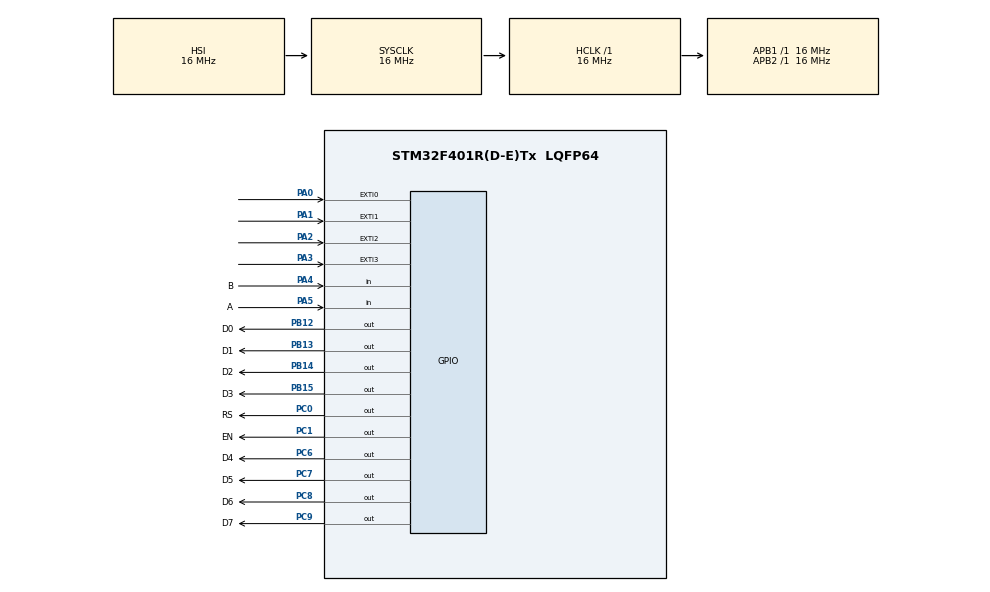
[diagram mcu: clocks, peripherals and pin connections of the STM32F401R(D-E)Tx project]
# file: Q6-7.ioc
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Mcu.Family=STM32F4
Mcu.Name=STM32F401R(D-E)Tx
Mcu.Package=LQFP64
NVIC.EXTI0_IRQn=true\:1\:0\:true\:false\:true\:true\:true
NVIC.EXTI1_IRQn=true\:1\:0\:true\:false\:true\:true\:true
NVIC.EXTI2_IRQn=true\:1\:0\:true\:false\:true\:true\:true
NVIC.EXTI3_IRQn=true\:1\:0\:true\:false\:true\:true\:true
NVIC.PriorityGroup=NVIC_PRIORITYGROUP_4
PA0-WKUP.GPIO_ModeDefaultEXTI=GPIO_MODE_IT_RISING
PA0-WKUP.Signal=GPXTI0
PA1.GPIO_ModeDefaultEXTI=GPIO_MODE_IT_FALLING
PA1.Signal=GPXTI1
PA2.GPIO_ModeDefaultEXTI=GPIO_MODE_IT_RISING
PA2.Signal=GPXTI2
PA3.GPIO_ModeDefaultEXTI=GPIO_MODE_IT_FALLING
PA3.Signal=GPXTI3
PA4.GPIO_Label=B
PA4.Signal=GPIO_Input
PA5.GPIO_Label=A
PA5.Signal=GPIO_Input
PB12.GPIO_Label=D0
PB12.Signal=GPIO_Output
PB13.GPIO_Label=D1
PB13.Signal=GPIO_Output
PB14.GPIO_Label=D2
PB14.Signal=GPIO_Output
PB15.GPIO_Label=D3
PB15.Signal=GPIO_Output
PC0.GPIO_Label=RS
PC0.Signal=GPIO_Output
PC1.GPIO_Label=EN
PC1.Signal=GPIO_Output
PC6.GPIO_Label=D4
PC6.Signal=GPIO_Output
PC7.GPIO_Label=D5
PC7.Signal=GPIO_Output
PC8.GPIO_Label=D6
PC8.Signal=GPIO_Output
PC9.GPIO_Label=D7
PC9.Signal=GPIO_Output
ProjectManager.HeapSize=0x200
ProjectManager.StackSize=0x400
ProjectManager.TargetToolchain=STM32CubeIDE
RCC.AHBFreq_Value=16000000
RCC.APB1Freq_Value=16000000
RCC.APB2Freq_Value=16000000
RCC.CortexFreq_Value=16000000
RCC.HSE_VALUE=25000000
RCC.HSI_VALUE=16000000
RCC.LSE_VALUE=32768
RCC.SYSCLKFreq_VALUE=16000000
RCC.VCOOutputFreq_Value=192000000
board=custom

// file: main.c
/* USER CODE BEGIN Header */
/**
  ******************************************************************************
  * @file           : main.c
  * @brief          : Main program body
  ******************************************************************************
  * @attention
  *
  * <h2><center>&copy; Copyright (c) 2020 STMicroelectronics.
  * All rights reserved.</center></h2>
  *
  * This software component is licensed by ST under BSD 3-Clause license,
  * the "License"; You may not use this file except in compliance with the
  * License. You may obtain a copy of the License at:
  *                        opensource.org/licenses/BSD-3-Clause
  *
  ******************************************************************************
  */
/* USER CODE END Header */

#include "main.h"

/* USER CODE BEGIN Includes */
#include "STM_MY_LCD16X2.h"
#include "stdio.h"

/* USER CODE END Includes */

/* USER CODE BEGIN PV */
int n = 0;
float position;

/* USER CODE END PV */

void SystemClock_Config(void);
static void MX_GPIO_Init(void);

int main(void)
{

  /* MCU Configuration--------------------------------------------------------*/

  /* Reset of all peripherals, Initializes the Flash interface and the Systick. */
  HAL_Init();

  /* Configure the system clock */
  SystemClock_Config();

  /* Initialize all configured peripherals */
  MX_GPIO_Init();
  /* USER CODE BEGIN 2 */
  LCD1602_Begin8BIT(GPIOC,GPIO_PIN_0,GPIO_PIN_1,GPIOB,GPIO_PIN_12,GPIO_PIN_13,GPIO_PIN_14,GPIO_PIN_15,GPIOC,GPIO_PIN_6,GPIO_PIN_7,GPIO_PIN_8,GPIO_PIN_9);

  /* USER CODE END 2 */

  /* Infinite loop */
  /* USER CODE BEGIN WHILE */
  while (1)
  {
	  position = (float) n*0.3383458647; //position = n*((360/266)/4)
	  if (n >= 1064 || n <= -1064)
	  {
		  n = 0;
	  }
	  LCD1602_clear();
	  LCD1602_1stLine();
	  LCD1602_print("Pos: ");
	  LCD1602_PrintFloat(position, 2);

	  HAL_Delay(50);
    /* USER CODE END WHILE */

  }
}

void SystemClock_Config(void)
{
  RCC_OscInitTypeDef RCC_OscInitStruct = {0};
  RCC_ClkInitTypeDef RCC_ClkInitStruct = {0};

  /** Configure the main internal regulator output voltage
  */
  __HAL_RCC_PWR_CLK_ENABLE();
  __HAL_PWR_VOLTAGESCALING_CONFIG(PWR_REGULATOR_VOLTAGE_SCALE2);
  /** Initializes the CPU, AHB and APB busses clocks
  */
  RCC_OscInitStruct.OscillatorType = RCC_OSCILLATORTYPE_HSI;
  RCC_OscInitStruct.HSIState = RCC_HSI_ON;
  RCC_OscInitStruct.HSICalibrationValue = RCC_HSICALIBRATION_DEFAULT;
  RCC_OscInitStruct.PLL.PLLState = RCC_PLL_NONE;
  if (HAL_RCC_OscConfig(&RCC_OscInitStruct) != HAL_OK)
  {
    Error_Handler();
  }
  /** Initializes the CPU, AHB and APB busses clocks
  */
  RCC_ClkInitStruct.ClockType = RCC_CLOCKTYPE_HCLK|RCC_CLOCKTYPE_SYSCLK
                              |RCC_CLOCKTYPE_PCLK1|RCC_CLOCKTYPE_PCLK2;
  RCC_ClkInitStruct.SYSCLKSource = RCC_SYSCLKSOURCE_HSI;
  RCC_ClkInitStruct.AHBCLKDivider = RCC_SYSCLK_DIV1;
  RCC_ClkInitStruct.APB1CLKDivider = RCC_HCLK_DIV1;
  RCC_ClkInitStruct.APB2CLKDivider = RCC_HCLK_DIV1;

  if (HAL_RCC_ClockConfig(&RCC_ClkInitStruct, FLASH_LATENCY_0) != HAL_OK)
  {
    Error_Handler();
  }
}

static void MX_GPIO_Init(void)
{
  GPIO_InitTypeDef GPIO_InitStruct = {0};

  /* GPIO Ports Clock Enable */
  __HAL_RCC_GPIOC_CLK_ENABLE();
  __HAL_RCC_GPIOA_CLK_ENABLE();
  __HAL_RCC_GPIOB_CLK_ENABLE();

  /*Configure GPIO pin Output Level */
  HAL_GPIO_WritePin(GPIOC, RS_Pin|EN_Pin|D4_Pin|D5_Pin
                          |D6_Pin|D7_Pin, GPIO_PIN_RESET);

  /*Configure GPIO pin Output Level */
  HAL_GPIO_WritePin(GPIOB, D0_Pin|D1_Pin|D2_Pin|D3_Pin, GPIO_PIN_RESET);

  /*Configure GPIO pins : RS_Pin EN_Pin D4_Pin D5_Pin
                           D6_Pin D7_Pin */
  GPIO_InitStruct.Pin = RS_Pin|EN_Pin|D4_Pin|D5_Pin
                          |D6_Pin|D7_Pin;
  GPIO_InitStruct.Mode = GPIO_MODE_OUTPUT_PP;
  GPIO_InitStruct.Pull = GPIO_NOPULL;
  GPIO_InitStruct.Speed = GPIO_SPEED_FREQ_LOW;
  HAL_GPIO_Init(GPIOC, &GPIO_InitStruct);

  /*Configure GPIO pins : PA0 PA2 */
  GPIO_InitStruct.Pin = GPIO_PIN_0|GPIO_PIN_2;
  GPIO_InitStruct.Mode = GPIO_MODE_IT_RISING;
  GPIO_InitStruct.Pull = GPIO_NOPULL;
  HAL_GPIO_Init(GPIOA, &GPIO_InitStruct);

  /*Configure GPIO pins : PA1 PA3 */
  GPIO_InitStruct.Pin = GPIO_PIN_1|GPIO_PIN_3;
  GPIO_InitStruct.Mode = GPIO_MODE_IT_FALLING;
  GPIO_InitStruct.Pull = GPIO_NOPULL;
  HAL_GPIO_Init(GPIOA, &GPIO_InitStruct);

  /*Configure GPIO pins : B_Pin A_Pin */
  GPIO_InitStruct.Pin = B_Pin|A_Pin;
  GPIO_InitStruct.Mode = GPIO_MODE_INPUT;
  GPIO_InitStruct.Pull = GPIO_NOPULL;
  HAL_GPIO_Init(GPIOA, &GPIO_InitStruct);

  /*Configure GPIO pins : D0_Pin D1_Pin D2_Pin D3_Pin */
  GPIO_InitStruct.Pin = D0_Pin|D1_Pin|D2_Pin|D3_Pin;
  GPIO_InitStruct.Mode = GPIO_MODE_OUTPUT_PP;
  GPIO_InitStruct.Pull = GPIO_NOPULL;
  GPIO_InitStruct.Speed = GPIO_SPEED_FREQ_LOW;
  HAL_GPIO_Init(GPIOB, &GPIO_InitStruct);

  /* EXTI interrupt init*/
  HAL_NVIC_SetPriority(EXTI0_IRQn, 1, 0);
  HAL_NVIC_EnableIRQ(EXTI0_IRQn);

  HAL_NVIC_SetPriority(EXTI1_IRQn, 1, 0);
  HAL_NVIC_EnableIRQ(EXTI1_IRQn);

  HAL_NVIC_SetPriority(EXTI2_IRQn, 1, 0);
  HAL_NVIC_EnableIRQ(EXTI2_IRQn);

  HAL_NVIC_SetPriority(EXTI3_IRQn, 1, 0);
  HAL_NVIC_EnableIRQ(EXTI3_IRQn);

}

/* USER CODE BEGIN 4 */
void HAL_GPIO_EXTI_Callback(uint16_t GPIO_PIN)
{
	if(GPIO_PIN == GPIO_PIN_0)
	{
		if (HAL_GPIO_ReadPin(GPIOA, GPIO_PIN_4) == GPIO_PIN_RESET)
		{
			n += 1;
		}
		else if (HAL_GPIO_ReadPin(GPIOA, GPIO_PIN_4) == GPIO_PIN_SET)
		{
			n -= 1;
		}
	}

	if(GPIO_PIN == GPIO_PIN_1)
	{
		if (HAL_GPIO_ReadPin(GPIOA, GPIO_PIN_4) == GPIO_PIN_SET)
		{
			n += 1;
		}
		else if (HAL_GPIO_ReadPin(GPIOA, GPIO_PIN_4) == GPIO_PIN_RESET)
		{
			n -= 1;
		}
	}
	if(GPIO_PIN == GPIO_PIN_2)
	{
		if (HAL_GPIO_ReadPin(GPIOA, GPIO_PIN_5) == GPIO_PIN_SET)
		{
			n += 1;
		}
		else if (HAL_GPIO_ReadPin(GPIOA, GPIO_PIN_5) == GPIO_PIN_RESET)
		{
			n -= 1;
		}
	}
	if(GPIO_PIN == GPIO_PIN_3)
	{
		if (HAL_GPIO_ReadPin(GPIOA, GPIO_PIN_5) == GPIO_PIN_RESET)
		{
			n += 1;
		}
		else if (HAL_GPIO_ReadPin(GPIOA, GPIO_PIN_5) == GPIO_PIN_SET)
		{
			n -= 1;
		}
	}
}

/* USER CODE END 4 */

void Error_Handler(void)
{
}

/************************ (C) COPYRIGHT STMicroelectronics *****END OF FILE****/
